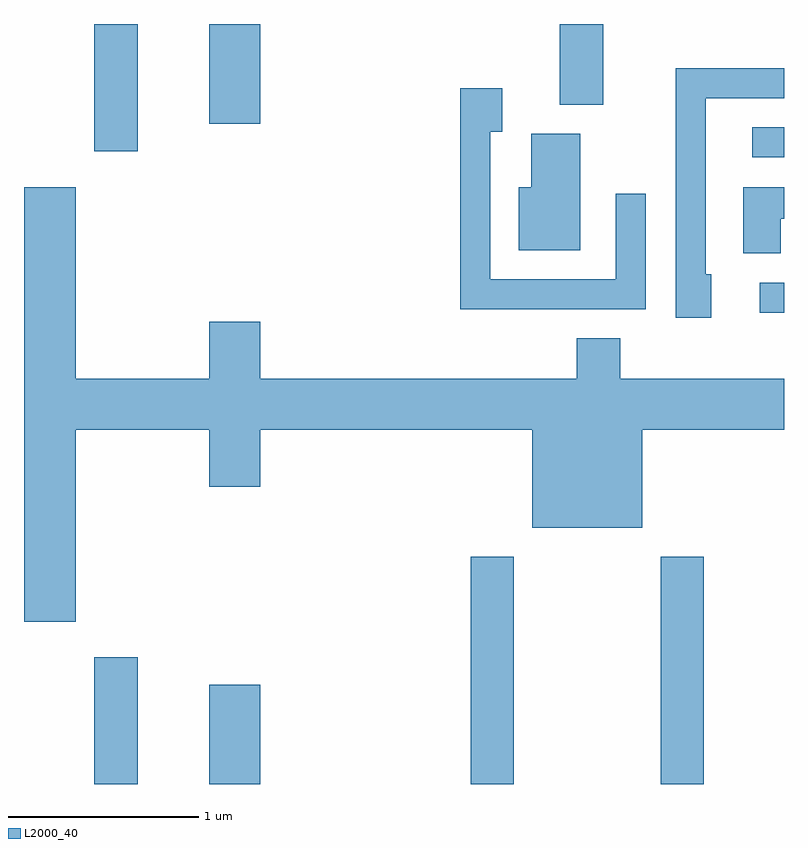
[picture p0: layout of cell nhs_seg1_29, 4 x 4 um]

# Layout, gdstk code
import gdstk
lib = gdstk.Library(unit=1e-6, precision=1e-09)
def R(c, l, rs):  # rectangles x0, y0, x1, y1
    for r in rs: c.add(gdstk.rectangle(r[:2], r[2:], *l))
def P(c, l, *ps):  # polygons
    for p in ps: c.add(gdstk.Polygon(p, *l))
L2000_40 = (2000, 40)

nhs_seg1_29 = lib.new_cell('nhs_seg1_29')
R(nhs_seg1_29, L2000_40, [(185.981,897.712,186.209,898.379), (186.586,897.712,186.854,898.234), (187.961,897.712,188.189,898.909), (188.961,897.712,189.189,898.909), (189.483,900.191,189.611,900.349), (189.443,901.011,189.611,901.169), (185.981,901.041,186.209,901.712), (186.586,901.186,186.854,901.712), (188.431,901.286,188.659,901.712)])
P(nhs_seg1_29, L2000_40, [(189.229,900.394),(189.199,900.394),(189.199,901.321),(189.611,901.321),(189.611,901.479),(189.041,901.479),(189.041,900.166),(189.229,900.166)],
  [(188.884,900.818),(188.726,900.818),(188.726,900.369),(188.064,900.369),(188.064,901.146),(188.129,901.146),(188.129,901.374),(187.906,901.374),(187.906,900.211),(188.884,900.211)],
  [(188.539,901.134),(188.281,901.134),(188.281,900.854),(188.216,900.854),(188.216,900.521),(188.539,900.521)],
  [(189.594,900.686),(189.611,900.686),(189.611,900.854),(189.396,900.854),(189.396,900.506),(189.594,900.506)],
  [(185.884,899.576),(186.586,899.576),(186.586,899.276),(186.854,899.276),(186.854,899.576),(188.286,899.576),(188.286,899.061),(188.864,899.061),(188.864,899.576),(189.611,899.576),(189.611,899.844),(188.749,899.844),(188.749,900.059),(188.521,900.059),(188.521,899.844),(186.854,899.844),(186.854,900.144),(186.586,900.144),(186.586,899.844),(185.884,899.844),(185.884,900.854),(185.611,900.854),(185.611,898.566),(185.884,898.566)])

lib.write_gds('nhs_seg1_29.gds')
